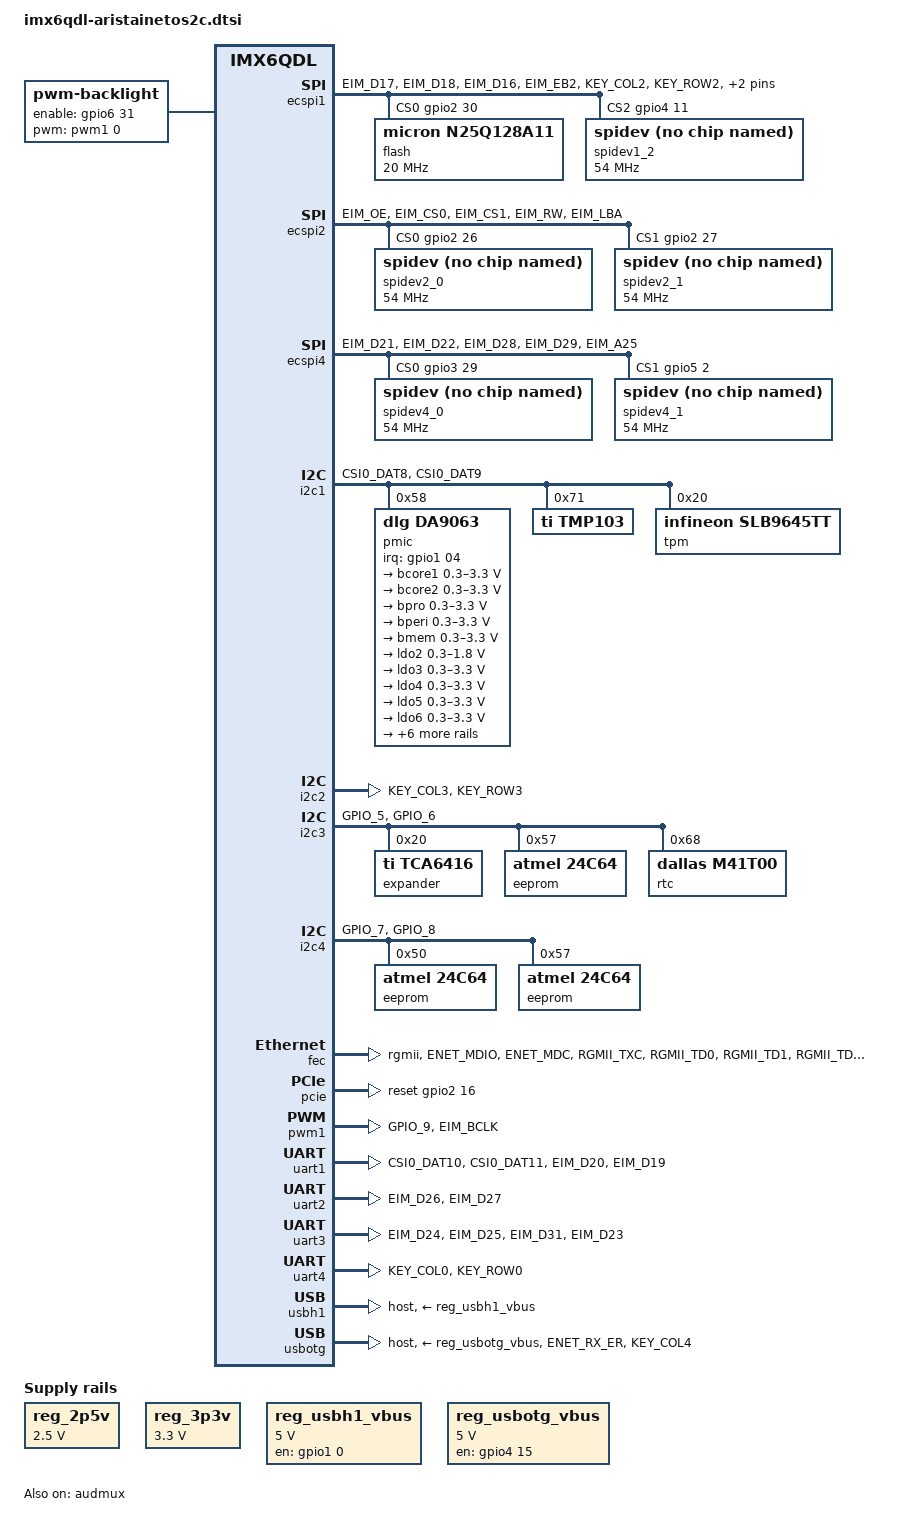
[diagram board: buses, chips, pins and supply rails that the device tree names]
/*
 * support for the imx6 based aristainetos2-revC board
 *
 * Copyright (C) 2015..2018 Heiko Schocher <hs@denx.de>
 *
 * This file is dual-licensed: you can use it either under the terms
 * of the GPL or the X11 license, at your option. Note that this dual
 * licensing only applies to this file, and not this project as a
 * whole.
 *
 *  a) This file is free software; you can redistribute it and/or
 *     modify it under the terms of the GNU General Public License
 *     version 2 as published by the Free Software Foundation.
 *
 *     This file is distributed in the hope that it will be useful
 *     but WITHOUT ANY WARRANTY; without even the implied warranty of
 *     MERCHANTABILITY or FITNESS FOR A PARTICULAR PURPOSE.  See the
 *     GNU General Public License for more details.
 *
 * Or, alternatively
 *
 *  b) Permission is hereby granted, free of charge, to any person
 *     obtaining a copy of this software and associated documentation
 *     files (the "Software"), to deal in the Software without
 *     restriction, including without limitation the rights to use
 *     copy, modify, merge, publish, distribute, sublicense, and/or
 *     sell copies of the Software, and to permit persons to whom the
 *     Software is furnished to do so, subject to the following
 *     conditions:
 *
 *     The above copyright notice and this permission notice shall be
 *     included in all copies or substantial portions of the Software.
 *
 *     THE SOFTWARE IS PROVIDED , WITHOUT WARRANTY OF ANY KIND
 *     EXPRESS OR IMPLIED, INCLUDING BUT NOT LIMITED TO THE WARRANTIES
 *     OF MERCHANTABILITY, FITNESS FOR A PARTICULAR PURPOSE AND
 *     NONINFRINGEMENT. IN NO EVENT SHALL THE AUTHORS OR COPYRIGHT
 *     HOLDERS BE LIABLE FOR ANY CLAIM, DAMAGES OR OTHER LIABILITY
 *     WHETHER IN AN ACTION OF CONTRACT, TORT OR OTHERWISE, ARISING
 *     FROM, OUT OF OR IN CONNECTION WITH THE SOFTWARE OR THE USE OR
 *     OTHER DEALINGS IN THE SOFTWARE.
 */
#include <dt-bindings/gpio/gpio.h>
#include <dt-bindings/clock/imx6qdl-clock.h>

/ {
	backlight: backlight {
		compatible = "pwm-backlight";
		pwms = <&pwm1 0 50000>;
		brightness-levels = <0 4 8 16 32 64 128 255>;
		default-brightness-level = <6>;
		enable-gpios = <&gpio6 31 GPIO_ACTIVE_HIGH>;
	};

	regulators {
		compatible = "simple-bus";

		reg_2p5v: 2p5v {
			compatible = "regulator-fixed";
			regulator-name = "2P5V";
			regulator-min-microvolt = <2500000>;
			regulator-max-microvolt = <2500000>;
			regulator-always-on;
		};

		reg_3p3v: 3p3v {
			compatible = "regulator-fixed";
			regulator-name = "3P3V";
			regulator-min-microvolt = <3300000>;
			regulator-max-microvolt = <3300000>;
			regulator-always-on;
		};

		reg_usbh1_vbus: usb-h1-vbus {
			compatible = "regulator-fixed";
			enable-active-high;
			gpio = <&gpio1 0 GPIO_ACTIVE_HIGH>;
			pinctrl-names = "default";
			pinctrl-0 = <&pinctrl_aristainetos2_usbh1_vbus>;
			regulator-name = "usb_h1_vbus";
			regulator-min-microvolt = <5000000>;
			regulator-max-microvolt = <5000000>;
		};

		reg_usbotg_vbus: usb-otg-vbus {
			compatible = "regulator-fixed";
			enable-active-high;
			gpio = <&gpio4 15 GPIO_ACTIVE_HIGH>;
			pinctrl-names = "default";
			pinctrl-0 = <&pinctrl_aristainetos2_usbotg_vbus>;
			regulator-name = "usb_otg_vbus";
			regulator-min-microvolt = <5000000>;
			regulator-max-microvolt = <5000000>;
		};
	};
};

&audmux {
	pinctrl-names = "default";
	pinctrl-0 = <&pinctrl_audmux>;
	status = "okay";
};

&ecspi1 {
	fsl,spi-num-chipselects = <3>;
	cs-gpios = <&gpio2 30 GPIO_ACTIVE_HIGH
		    &gpio4 10 GPIO_ACTIVE_HIGH
		    &gpio4 11 GPIO_ACTIVE_HIGH>;
	pinctrl-names = "default";
	pinctrl-0 = <&pinctrl_ecspi1>;
	status = "okay";
	pinctrl-assert-gpios = <&gpio2 28 GPIO_ACTIVE_HIGH>;
	pinctrl-assert-gpios = <&gpio2 15 GPIO_ACTIVE_HIGH>;

	flash: m25p80@0 {
		#address-cells = <1>;
		#size-cells = <1>;
		compatible = "micron,n25q128a11", "jedec,spi-nor";
		spi-max-frequency = <20000000>;
		reg = <0>;
	};

	spidev1_2: spi@2 {
		compatible = "spidev";
		reg = <2>;
		spi-max-frequency = <54000000>;
	};
};

&ecspi2 {
	fsl,spi-num-chipselects = <2>;
	cs-gpios = <&gpio2 26 GPIO_ACTIVE_HIGH &gpio2 27 GPIO_ACTIVE_HIGH>;
	pinctrl-names = "default";
	pinctrl-0 = <&pinctrl_ecspi2>;
	status = "okay";

	spidev2_0: spi@0 {
		compatible = "spidev";
		reg = <0>;
		spi-max-frequency = <54000000>;
	};

	spidev2_1: spi@1 {
		compatible = "spidev";
		reg = <1>;
		spi-max-frequency = <54000000>;
	};
};

&ecspi4 {
	fsl,spi-num-chipselects = <2>;
	cs-gpios = <&gpio3 29 GPIO_ACTIVE_HIGH &gpio5 2 GPIO_ACTIVE_HIGH>;
	pinctrl-names = "default";
	pinctrl-0 = <&pinctrl_ecspi4>;
	status = "okay";

	spidev4_0: spi@0 {
		compatible = "spidev";
		reg = <0>;
		spi-max-frequency = <54000000>;
	};

	spidev4_1: spi@1 {
		compatible = "spidev";
		reg = <1>;
		spi-max-frequency = <54000000>;
	};
};

&i2c1 {
	pinctrl-names = "default";
	pinctrl-0 = <&pinctrl_i2c1>;
	status = "okay";

	pmic@58 {
		compatible = "dlg,da9063";
		/* the pmic uses addr 0x58 and 0x59 */
		reg = <0x58>;
		interrupt-parent = <&gpio1>;
		interrupts = <04 0x8>;

		regulators {
			bcore1 {
				regulator-name = "bcore1";
				regulator-always-on = <1>;
				regulator-min-microvolt = <300000>;
				regulator-max-microvolt = <3300000>;
			};

			bcore2 {
				regulator-name = "bcore2";
				regulator-always-on = <1>;
				regulator-min-microvolt = <300000>;
				regulator-max-microvolt = <3300000>;
			};

			bpro {
				regulator-name = "bpro";
				regulator-always-on = <1>;
				regulator-min-microvolt = <300000>;
				regulator-max-microvolt = <3300000>;
			};

			bperi {
				regulator-name = "bperi";
				regulator-always-on = <1>;
				regulator-min-microvolt = <300000>;
				regulator-max-microvolt = <3300000>;
			};

			bmem {
				regulator-name = "bmem";
				regulator-always-on = <1>;
				regulator-min-microvolt = <300000>;
				regulator-max-microvolt = <3300000>;
			};

			ldo2 {
				regulator-name = "ldo2";
				regulator-always-on = <1>;
				regulator-min-microvolt = <300000>;
				regulator-max-microvolt = <1800000>;
			};

			ldo3 {
				regulator-name = "ldo3";
				regulator-always-on = <1>;
				regulator-min-microvolt = <300000>;
				regulator-max-microvolt = <3300000>;
			};

			ldo4 {
				regulator-name = "ldo4";
				regulator-always-on = <1>;
				regulator-min-microvolt = <300000>;
				regulator-max-microvolt = <3300000>;
			};

			ldo5 {
				regulator-name = "ldo5";
				regulator-always-on = <1>;
				regulator-min-microvolt = <300000>;
				regulator-max-microvolt = <3300000>;
			};

			ldo6 {
				regulator-name = "ldo6";
				regulator-always-on = <1>;
				regulator-min-microvolt = <300000>;
				regulator-max-microvolt = <3300000>;
			};

			ldo7 {
				regulator-name = "ldo7";
				regulator-always-on = <1>;
				regulator-min-microvolt = <300000>;
				regulator-max-microvolt = <3300000>;
			};

			ldo8 {
				regulator-name = "ldo8";
				regulator-always-on = <1>;
				regulator-min-microvolt = <300000>;
				regulator-max-microvolt = <3300000>;
			};

			ldo9 {
				regulator-name = "ldo9";
				regulator-always-on = <1>;
				regulator-min-microvolt = <300000>;
				regulator-max-microvolt = <3300000>;
			};

			ldo10 {
				regulator-name = "ldo10";
				regulator-always-on = <1>;
				regulator-min-microvolt = <300000>;
				regulator-max-microvolt = <3300000>;
			};

			ldo11 {
				regulator-name = "ldo11";
				regulator-always-on = <1>;
				regulator-min-microvolt = <300000>;
				regulator-max-microvolt = <3300000>;
			};

			bio {
				regulator-name = "bio";
				regulator-always-on = <1>;
				regulator-min-microvolt = <1800000>;
				regulator-max-microvolt = <1800000>;
			};
		};
	};

	tmp103: tmp103@71 {
		compatible = "ti,tmp103";
		reg = <0x71>;
	};
	tpm@20 {
		compatible = "infineon,slb9645tt";
		reg = <0x20>;
	};
};

&i2c2 {
	pinctrl-names = "default";
	pinctrl-0 = <&pinctrl_i2c2>;
	status = "okay";
};

&i2c3 {
	pinctrl-names = "default";
	pinctrl-0 = <&pinctrl_i2c3>;
	status = "okay";

	expander: tca6416@20 {
		compatible = "ti,tca6416";
		reg = <0x20>;
		#gpio-cells = <2>;
		gpio-controller;
	};

	eeprom@57{
		compatible = "atmel,24c64";
		reg = <0x57>;
		pagesize = <32>;
	};

	rtc@68 {
		compatible = "dallas,m41t00";
		reg = <0x68>;
	};
};

&i2c4 {
	pinctrl-names = "default";
	pinctrl-0 = <&pinctrl_i2c4>;
	status = "okay";

	eeprom@50{
		compatible = "atmel,24c64";
		reg = <0x50>;
		pagesize = <32>;
	};

	eeprom@57{
		compatible = "atmel,24c64";
		reg = <0x57>;
		pagesize = <32>;
	};
};

&fec {
	pinctrl-names = "default";
	pinctrl-0 = <&pinctrl_enet>;
	phy-mode = "rgmii";
	phy-reset-gpios = <&gpio7 18 GPIO_ACTIVE_HIGH>;
	txd0-skew-ps = <0>;
	txd1-skew-ps = <0>;
	txd2-skew-ps = <0>;
	txd3-skew-ps = <0>;
	status = "okay";
};

&pcie {
	reset-gpio = <&gpio2 16 GPIO_ACTIVE_HIGH>;
	status = "okay";
};

&pwm1 {
	pinctrl-names = "default";
	pinctrl-0 = <&pinctrl_pwm1>;
	status = "okay";
};

&uart1 {
	pinctrl-names = "default";
	pinctrl-0 = <&pinctrl_uart1>;
	fsl,uart-has-rtscts;
	status = "okay";
};

&uart2 {
	pinctrl-names = "default";
	pinctrl-0 = <&pinctrl_uart2>;
	status = "okay";
};

&uart3 {
	pinctrl-names = "default";
	pinctrl-0 = <&pinctrl_uart3>;
	fsl,uart-has-rtscts;
	status = "okay";
};

&uart4 {
	pinctrl-names = "default";
	pinctrl-0 = <&pinctrl_uart4>;
	status = "okay";
};

&usbh1 {
	vbus-supply = <&reg_usbh1_vbus>;
	dr_mode = "host";
	status = "okay";
};

&usbotg {
	vbus-supply = <&reg_usbotg_vbus>;
	pinctrl-names = "default";
	pinctrl-0 = <&pinctrl_usbotg>;
	disable-over-current;
	dr_mode = "host";   /* fixed configuration, ID pin not checked */
	status = "okay";
};

&iomuxc {
	pinctrl-names = "default";
	pinctrl-0 = <&pinctrl_gpio>;

	pinctrl_audmux: audmux {
		fsl,pins = <
			MX6QDL_PAD_CSI0_DAT7__AUD3_RXD  0x1b0b0
			MX6QDL_PAD_CSI0_DAT4__AUD3_TXC  0x1b0b0
			MX6QDL_PAD_CSI0_DAT5__AUD3_TXD  0x1b0b0
			MX6QDL_PAD_CSI0_DAT6__AUD3_TXFS 0x1b0b0
		>;
	};

	pinctrl_ecspi1: ecspi1grp {
		fsl,pins = <
			MX6QDL_PAD_EIM_D17__ECSPI1_MISO 0x100b1
			MX6QDL_PAD_EIM_D18__ECSPI1_MOSI 0x100b1
			MX6QDL_PAD_EIM_D16__ECSPI1_SCLK 0x100b1
			MX6QDL_PAD_EIM_EB2__GPIO2_IO30 0x100b1  /* SS0# */
			MX6QDL_PAD_KEY_COL2__GPIO4_IO10 0x100b1 /* SS1# */
			MX6QDL_PAD_KEY_ROW2__GPIO4_IO11 0x100b1 /* SS2# */
			MX6QDL_PAD_SD4_DAT7__GPIO2_IO15 0x1b0b0 /* WP pin NOR Flash */
			MX6QDL_PAD_EIM_EB0__GPIO2_IO28  0x1b0b0 /* Flash nReset */
		>;
	};

	pinctrl_ecspi2: ecspi2grp {
		fsl,pins = <
			MX6QDL_PAD_EIM_OE__ECSPI2_MISO  0x100b1
			MX6QDL_PAD_EIM_CS0__ECSPI2_SCLK 0x100b1
			MX6QDL_PAD_EIM_CS1__ECSPI2_MOSI 0x100b1
			MX6QDL_PAD_EIM_RW__GPIO2_IO26   0x100b1 /* SS0# */
			MX6QDL_PAD_EIM_LBA__GPIO2_IO27  0x100b1 /* SS1# */
		>;
	};

	pinctrl_ecspi4: ecspi4grp {
		fsl,pins = <
			MX6QDL_PAD_EIM_D21__ECSPI4_SCLK 0x100b1
			MX6QDL_PAD_EIM_D22__ECSPI4_MISO 0x100b1
			MX6QDL_PAD_EIM_D28__ECSPI4_MOSI 0x100b1
			MX6QDL_PAD_EIM_D29__GPIO3_IO29  0x100b1 /* SS0# */
			MX6QDL_PAD_EIM_A25__GPIO5_IO02  0x100b1 /* SS1# */
		>;
	};

	pinctrl_enet: enetgrp {
		fsl,pins = <
			MX6QDL_PAD_ENET_MDIO__ENET_MDIO       0x1b0b0
			MX6QDL_PAD_ENET_MDC__ENET_MDC         0x1b0b0
			MX6QDL_PAD_RGMII_TXC__RGMII_TXC       0x1b0b0
			MX6QDL_PAD_RGMII_TD0__RGMII_TD0       0x1b0b0
			MX6QDL_PAD_RGMII_TD1__RGMII_TD1       0x1b0b0
			MX6QDL_PAD_RGMII_TD2__RGMII_TD2       0x1b0b0
			MX6QDL_PAD_RGMII_TD3__RGMII_TD3       0x1b0b0
			MX6QDL_PAD_RGMII_TX_CTL__RGMII_TX_CTL 0x1b0b0
			MX6QDL_PAD_ENET_REF_CLK__ENET_TX_CLK  0x1b0b0
			MX6QDL_PAD_RGMII_RXC__RGMII_RXC       0x1b0b0
			MX6QDL_PAD_RGMII_RD0__RGMII_RD0       0x1b0b0
			MX6QDL_PAD_RGMII_RD1__RGMII_RD1       0x1b0b0
			MX6QDL_PAD_RGMII_RD2__RGMII_RD2       0x1b0b0
			MX6QDL_PAD_RGMII_RD3__RGMII_RD3       0x1b0b0
			MX6QDL_PAD_RGMII_RX_CTL__RGMII_RX_CTL 0x1b0b0
		>;
	};

	pinctrl_flexcan1: flexcan1grp {
		fsl,pins = <
			MX6QDL_PAD_SD3_CLK__FLEXCAN1_RX 0x1b0b0
			MX6QDL_PAD_SD3_CMD__FLEXCAN1_TX 0x1b0b0
		>;
	};

	pinctrl_flexcan2: flexcan2grp {
		fsl,pins = <
			MX6QDL_PAD_SD3_DAT0__FLEXCAN2_TX 0x1b0b0
			MX6QDL_PAD_SD3_DAT1__FLEXCAN2_RX 0x1b0b0
		>;
	};

	pinctrl_gpio: gpiogrp {
		fsl,pins = <
			MX6QDL_PAD_ENET_CRS_DV__GPIO1_IO25	0x1b0b0 /* led enable */
			MX6QDL_PAD_NANDF_CS2__GPIO6_IO15	0x1b0b0 /* LCD power enable */
			MX6QDL_PAD_NANDF_CS3__GPIO6_IO16	0x1b0b0 /* led yellow */
			MX6QDL_PAD_EIM_WAIT__GPIO5_IO00		0x1b0b0 /* led red */
			MX6QDL_PAD_EIM_A24__GPIO5_IO04		0x1b0b0 /* led green */
			MX6QDL_PAD_EIM_EB1__GPIO2_IO29		0x1b0b0 /* led blue */
			MX6QDL_PAD_SD3_DAT5__GPIO7_IO00		0x1b0b0 /* Profibus IRQ */
			MX6QDL_PAD_SD3_DAT6__GPIO6_IO18		0x1b0b0 /* FPGA IRQ currently unused*/
			MX6QDL_PAD_SD4_DAT3__GPIO2_IO11		0x1b0b0 /* Display reset because of clock failure */
			MX6QDL_PAD_EIM_A23__GPIO6_IO06		0x1b0b0 /* spi bus #2 SS driver enable */
			MX6QDL_PAD_GPIO_18__GPIO7_IO13		0x1b0b0 /* RST_LOC# PHY reset input (has pull-down!)*/
			MX6QDL_PAD_SD4_DAT1__GPIO2_IO09		0x1b0b0 /* Touchscreen IRQ */
			MX6QDL_PAD_EIM_A22__GPIO2_IO16		0x1b0b0 /* PCIe reset */
			MX6QDL_PAD_GPIO_16__GPIO7_IO11		0x1a0b0 /* make sure pin is GPIO and not ENET_REF_CLK */
/*			MX6QDL_PAD_SD4_DAT0__NAND_DQS		0x00b1 AFB8_PTIO */
/*			MX6QDL_PAD_NANDF_CS1__NAND_CE1_B	0xb0b1 BAT_LOW# */
		>;
	};

	pinctrl_i2c1: i2c1grp {
		fsl,pins = <
			MX6QDL_PAD_CSI0_DAT8__I2C1_SDA 0x4001b8b1
			MX6QDL_PAD_CSI0_DAT9__I2C1_SCL 0x4001b8b1
		>;
	};

	pinctrl_i2c2: i2c2grp {
		fsl,pins = <
			MX6QDL_PAD_KEY_COL3__I2C2_SCL 0x4001b8b1
			MX6QDL_PAD_KEY_ROW3__I2C2_SDA 0x4001b8b1
		>;
	};

	pinctrl_i2c3: i2c3grp {
		fsl,pins = <
			MX6QDL_PAD_GPIO_5__I2C3_SCL 0x4001b8b1
			MX6QDL_PAD_GPIO_6__I2C3_SDA 0x4001b8b1
		>;
	};

	pinctrl_i2c4: i2c4grp {
		fsl,pins = <
			MX6QDL_PAD_GPIO_7__I2C4_SCL 0x4001b8b1
			MX6QDL_PAD_GPIO_8__I2C4_SDA 0x4001b8b1
		>;
	};

	pinctrl_pwm1: pwm1grp {
		fsl,pins = <
			MX6QDL_PAD_GPIO_9__PWM1_OUT	0x1b0b0
			MX6QDL_PAD_EIM_BCLK__GPIO6_IO31	0x1b0b0 /* backlight enable */
		>;
	};

	pinctrl_uart1: uart1grp {
		fsl,pins = <
			MX6QDL_PAD_CSI0_DAT10__UART1_TX_DATA	0x1b0b1
			MX6QDL_PAD_CSI0_DAT11__UART1_RX_DATA	0x1b0b1
			MX6QDL_PAD_EIM_D20__UART1_RTS_B		0x1b0b1
			MX6QDL_PAD_EIM_D19__UART1_CTS_B		0x1b0b1
		>;
	};

	pinctrl_uart2: uart2grp {
		fsl,pins = <
			MX6QDL_PAD_EIM_D26__UART2_TX_DATA 0x1b0b1
			MX6QDL_PAD_EIM_D27__UART2_RX_DATA 0x1b0b1
		>;
	};

	pinctrl_uart3: uart3grp {
		fsl,pins = <
			MX6QDL_PAD_EIM_D24__UART3_TX_DATA 0x1b0b1
			MX6QDL_PAD_EIM_D25__UART3_RX_DATA 0x1b0b1
			MX6QDL_PAD_EIM_D31__UART3_RTS_B	  0x1b0b1
			MX6QDL_PAD_EIM_D23__UART3_CTS_B	  0x1b0b1
		>;
	};

	pinctrl_uart4: uart4grp {
		fsl,pins = <
			MX6QDL_PAD_KEY_COL0__UART4_TX_DATA 0x1b0b1
			MX6QDL_PAD_KEY_ROW0__UART4_RX_DATA 0x1b0b1
		>;
	};

	pinctrl_usbotg: usbotggrp {
		fsl,pins = <
			MX6QDL_PAD_ENET_RX_ER__USB_OTG_ID  0x17059
			MX6QDL_PAD_KEY_COL4__USB_OTG_OC    0x1b0b0
		>;
	};

	pinctrl_aristainetos2_usbh1_vbus: aristainetos-usbh1-vbus {
		fsl,pins = <MX6QDL_PAD_GPIO_0__GPIO1_IO00 0x130b0>;
	};

	pinctrl_aristainetos2_usbotg_vbus: aristainetos-usbotg-vbus {
		fsl,pins = <MX6QDL_PAD_KEY_ROW4__GPIO4_IO15 0x130b0>;
	};
};
